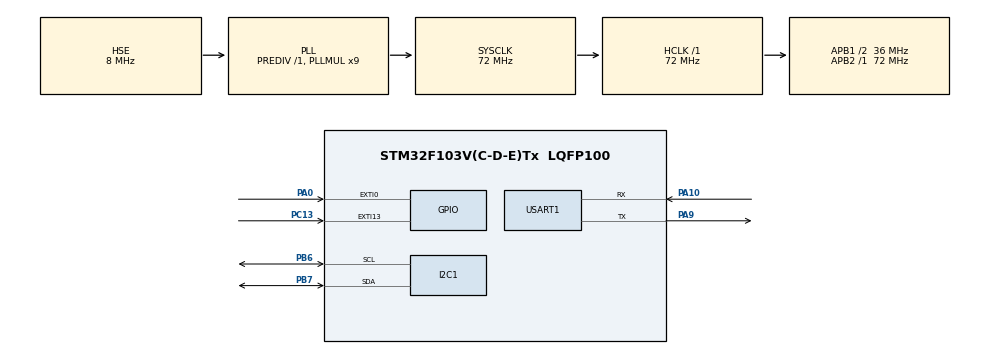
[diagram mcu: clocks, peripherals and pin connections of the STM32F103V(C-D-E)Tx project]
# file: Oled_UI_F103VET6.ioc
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Dma.I2C1_RX.0.Direction=DMA_PERIPH_TO_MEMORY
Dma.I2C1_RX.0.Instance=DMA1_Channel7
Dma.I2C1_RX.0.MemDataAlignment=DMA_MDATAALIGN_BYTE
Dma.I2C1_RX.0.MemInc=DMA_MINC_ENABLE
Dma.I2C1_RX.0.Mode=DMA_NORMAL
Dma.I2C1_RX.0.PeriphDataAlignment=DMA_PDATAALIGN_BYTE
Dma.I2C1_RX.0.PeriphInc=DMA_PINC_DISABLE
Dma.I2C1_RX.0.Priority=DMA_PRIORITY_LOW
Dma.I2C1_TX.1.Direction=DMA_MEMORY_TO_PERIPH
Dma.I2C1_TX.1.Instance=DMA1_Channel6
Dma.I2C1_TX.1.MemDataAlignment=DMA_MDATAALIGN_BYTE
Dma.I2C1_TX.1.MemInc=DMA_MINC_ENABLE
Dma.I2C1_TX.1.Mode=DMA_NORMAL
Dma.I2C1_TX.1.PeriphDataAlignment=DMA_PDATAALIGN_BYTE
Dma.I2C1_TX.1.PeriphInc=DMA_PINC_DISABLE
Dma.I2C1_TX.1.Priority=DMA_PRIORITY_LOW
Dma.Request0=I2C1_RX
Dma.Request1=I2C1_TX
I2C1.DutyCycle=I2C_DUTYCYCLE_2
I2C1.I2C_Mode=I2C_Fast
Mcu.Family=STM32F1
Mcu.Name=STM32F103V(C-D-E)Tx
Mcu.Package=LQFP100
NVIC.DMA1_Channel6_IRQn=true\:0\:0\:false\:false\:true\:false\:true\:true
NVIC.DMA1_Channel7_IRQn=true\:0\:0\:false\:false\:true\:false\:true\:true
NVIC.EXTI0_IRQn=true\:0\:0\:false\:false\:true\:true\:true\:true
NVIC.EXTI15_10_IRQn=true\:0\:0\:false\:false\:true\:true\:true\:true
NVIC.I2C1_ER_IRQn=true\:0\:0\:false\:false\:true\:true\:true\:true
NVIC.I2C1_EV_IRQn=true\:0\:0\:false\:false\:true\:true\:true\:true
NVIC.PriorityGroup=NVIC_PRIORITYGROUP_4
OSC_IN.Mode=HSE-External-Oscillator
OSC_IN.Signal=RCC_OSC_IN
OSC_OUT.Mode=HSE-External-Oscillator
OSC_OUT.Signal=RCC_OSC_OUT
PA0-WKUP.GPIO_ModeDefaultEXTI=GPIO_MODE_IT_RISING_FALLING
PA0-WKUP.GPIO_PuPd=GPIO_PULLDOWN
PA0-WKUP.Signal=GPXTI0
PA10.Mode=Asynchronous
PA10.Signal=USART1_RX
PA13.Mode=Serial_Wire
PA13.Signal=SYS_JTMS-SWDIO
PA14.Mode=Serial_Wire
PA14.Signal=SYS_JTCK-SWCLK
PA9.Mode=Asynchronous
PA9.Signal=USART1_TX
PB6.Mode=I2C
PB6.Signal=I2C1_SCL
PB7.Mode=I2C
PB7.Signal=I2C1_SDA
PC13-TAMPER-RTC.GPIO_ModeDefaultEXTI=GPIO_MODE_IT_RISING_FALLING
PC13-TAMPER-RTC.GPIO_PuPd=GPIO_PULLDOWN
PC13-TAMPER-RTC.Signal=GPXTI13
ProjectManager.HeapSize=0x200
ProjectManager.StackSize=0x400
ProjectManager.TargetToolchain=MDK-ARM V5.32
RCC.AHBFreq_Value=72000000
RCC.APB1CLKDivider=RCC_HCLK_DIV2
RCC.APB1Freq_Value=36000000
RCC.APB1TimFreq_Value=72000000
RCC.APB2Freq_Value=72000000
RCC.APB2TimFreq_Value=72000000
RCC.HCLKFreq_Value=72000000
RCC.PLLMUL=RCC_PLL_MUL9
RCC.PLLSourceVirtual=RCC_PLLSOURCE_HSE
RCC.SYSCLKFreq_VALUE=72000000
RCC.SYSCLKSource=RCC_SYSCLKSOURCE_PLLCLK
RCC.USBFreq_Value=72000000
USART1.VirtualMode=VM_ASYNC
board=custom

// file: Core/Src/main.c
/* USER CODE BEGIN Header */
/**
  ******************************************************************************
  * @file           : main.c
  * @brief          : Main program body
  ******************************************************************************
  * @attention
  *
  * Copyright (c) 2024 STMicroelectronics.
  * All rights reserved.
  *
  * This software is licensed under terms that can be found in the LICENSE file
  * in the root directory of this software component.
  * If no LICENSE file comes with this software, it is provided AS-IS.
  *
  ******************************************************************************
  */
/* USER CODE END Header */
#include "main.h"
#include "dma.h"
#include "i2c.h"
#include "usart.h"
#include "gpio.h"

/* USER CODE BEGIN Includes */
#include <stdio.h>
#include "oled.h"
#include "font.h"
#include "UI_Move.h"
/* USER CODE END Includes */

/* USER CODE BEGIN PTD */

struct Menutypedef ;
struct ItemTypedef ;

typedef struct Menutypedef
{
  char *menuName;
  struct ItemTypedef *items;
  struct Menutypedef *parentMenu; // 父级菜单指针
  uint16_t itemCount;
  int currentItemIndex;

}Menutypedef;

typedef struct ItemTypedef
{
  char *str;
  uint8_t len;
  void (*Function)(void);
  struct Menutypedef *subMenu; // 子级菜单指针

}ItemTypedef;

typedef struct
{
  int16_t val;
  int16_t targetVal;
  int16_t lastVal;

}UIElemTypedef;

typedef struct {
  uint8_t val;            // 当前值
  uint8_t lastVal;        // 上一次值
  uint8_t updateFlag;     // 更新标志
  uint8_t shortPress;     // 短按标志
  uint8_t longPress;      // 长按标志
  uint32_t pressTime;     // 按下时间
  uint32_t releaseTime;   // 抬起时间
} KeyTypeDef;

typedef struct
{
  int16_t topIndex;
  int16_t bottomIndex;
}ScreenIndexTypedef;

typedef enum
{
    INIT                    = 0x01,
    X_MOVING                = 0x02,
    GEN_CHAR                = 0x03,
    SEARCH_FINGERPRINT      = 0x04,
    SUCCESS_USER            = 0x05,
    FAILURE                 = 0x06
} UIMoveStateTypedef;

/* USER CODE END PTD */

/* USER CODE BEGIN PD */

#define LIMIT_MAGNITUDE(value, low, high) \
        ((value) < (low) ? (low) : ((value) > (high) ? (high) : (value)))

#define OLED_SCREEN_WIDTH   128
#define OLED_SCREEN_HEIGHT  64
#define MENU_ITEM_HEIGHT    16

#define SCROLLBAR_WIDTH    2
#define SCROLLBAR_MARGIN   3

#define LONG_PRESS_THRESHOLD 600 // ms

/* USER CODE END PD */

/* USER CODE BEGIN PV */

extern Menutypedef mainMenu;
extern Menutypedef listMenu;

ItemTypedef mainMenuItems[] =
{
  {"List", 4, NULL, &listMenu},
  {"a", 1, NULL, NULL},
  {"wqweqw", 6, NULL, NULL},
  {"sds", 3, NULL, NULL},
  {"List_E", 6, NULL, NULL},
  {"afsadf", 6, NULL, NULL},
  {"wode", 4, NULL, NULL},
  {"List", 4, NULL, NULL},
  {"a", 1, NULL, NULL},
  {"wqweqw", 6, NULL, NULL},
  {"sds", 3, NULL, NULL},
  {"List_E", 6, NULL, NULL},
  {"afsadf", 6, NULL, NULL},
  {"wode", 4, NULL, NULL}
};

ItemTypedef listMenuItems[] =
{
  {"List1", 5, NULL, NULL},
  {"a1", 3, NULL, NULL},
  {"wqweqw1", 7, NULL, NULL},
  {"sds1", 4, NULL, NULL},
  {"List_E1", 7, NULL, NULL},
  {"afsad1", 7, NULL, NULL},
  {"wode1", 5, NULL, NULL},
  {"List1", 5, NULL, NULL},
  {"a1", 2, NULL, NULL},
  {"wqweqw1", 7, NULL, NULL},
  {"sds1", 4, NULL, NULL},
  {"List_E1", 7, NULL, NULL},
  {"afsadf1", 7, NULL, NULL},
  {"wode1", 5, NULL, NULL}
};

Menutypedef mainMenu = {"mainMenu", mainMenuItems, NULL, sizeof(mainMenuItems) / sizeof(ItemTypedef), 0};
Menutypedef listMenu = {"listMenu", listMenuItems, &mainMenu, sizeof(listMenuItems) / sizeof(ItemTypedef), 0};
Menutypedef *currentMenu = &mainMenu;

KeyTypeDef KeyList[2] = {0};

UIElemTypedef itemX = {0};
UIElemTypedef itemY = {0};

UIElemTypedef frameWidth = {0};
UIElemTypedef frameY = {0};

UIElemTypedef screenTop = {0};
UIElemTypedef screenBottom = {0};

UIElemTypedef scrollBarY = {0};

ScreenIndexTypedef screenIndex = {0, 3};

// 0:没有按键响应 1:KEY1 2:KEY2
uint8_t keyID = 0;

// uint16_t listLen = 0;
float moveProcess_FrameY = 0.0;
float moveProcess_FrameWidth = 0.0;
float moveProcess_Screen = 0.0;
float moveProcess_ScrollBar = 0.0;

/* USER CODE END PV */

void SystemClock_Config(void);
/* USER CODE BEGIN PFP */
int fputc(int ch, FILE *f)
{
  HAL_UART_Transmit(&huart1, (uint8_t *)&ch, 1, 0xffff);
  return ch;
}
int fgetc(FILE *f)
{
  uint8_t ch = 0;
  HAL_UART_Receive(&huart1, &ch, 1, 0xffff);
  return ch;
}

void HAL_GPIO_EXTI_Callback(uint16_t GPIO_Pin)
{

  uint32_t currentTime = HAL_GetTick();

  if (GPIO_Pin == GPIO_PIN_13)
  {
    if (HAL_GPIO_ReadPin(GPIOC, GPIO_PIN_13) == GPIO_PIN_SET)
    {
      KeyList[0].val = 1;
      KeyList[0].pressTime = currentTime;
      keyID = 1;
    }
    else
    {
      KeyList[0].val = 0;
      KeyList[0].releaseTime = currentTime;

      uint32_t pressDuration = KeyList[0].releaseTime - KeyList[0].pressTime;
      if (pressDuration >= LONG_PRESS_THRESHOLD)
      {
        KeyList[0].longPress = 1;  // 长按

      }
      else
      {
        KeyList[0].longPress = 2;// 短按
      }
    }

    if (!KeyList[0].val && KeyList[0].longPress)
    {
      KeyList[0].updateFlag = 1;
    }

  }
  else if (GPIO_Pin == GPIO_PIN_0)
  {
    if (HAL_GPIO_ReadPin(GPIOA, GPIO_PIN_0) == GPIO_PIN_SET)
    {
      KeyList[1].val = 1;
      KeyList[1].pressTime = currentTime;
      keyID = 2;
    }
    else
    {
      KeyList[1].val = 0;
      KeyList[1].releaseTime = currentTime;

      uint32_t pressDuration = KeyList[1].releaseTime - KeyList[1].pressTime;
      if (pressDuration >= LONG_PRESS_THRESHOLD)
      {
        KeyList[1].longPress = 1;  // 长按

      }
      else
      {
        KeyList[1].longPress = 2;// 短按
      }

    }

    if (!KeyList[1].val && KeyList[1].longPress)
    {
      KeyList[1].updateFlag = 1;
    }
  }
}

// 返回值： 1： 到达目标哦位置； 0： 没有到达目标位置
uint8_t UI_Move(UIElemTypedef *elem, float *moveProcess, float moveSpeed);
// uint8_t Frame_Move(UIElemTypedef *frameY, UIElemTypedef *frameWidth, float moveSpeed);
uint8_t Screen_Move(UIElemTypedef *screenTop, float moveSpeed);
void Key_Init();
void ItemIndex_UpData();
void Frame_Update();
void Screen_Update();
void ScrollBar_Update(void);
void UI_Show();
float easeInOut(float t);

/* USER CODE END PFP */

int main(void)
{

  /* MCU Configuration--------------------------------------------------------*/

  /* Reset of all peripherals, Initializes the Flash interface and the Systick. */
  HAL_Init();

  /* Configure the system clock */
  SystemClock_Config();

  /* Initialize all configured peripherals */
  MX_GPIO_Init();
  MX_DMA_Init();
  MX_I2C1_Init();
  MX_USART1_UART_Init();
  /* USER CODE BEGIN 2 */
  OLED_Init();
  Key_Init();
  HAL_Delay(20);

  /* USER CODE END 2 */

  /* Infinite loop */
  /* USER CODE BEGIN WHILE */
  printf("ready:)\n");
  frameY.targetVal = currentMenu->currentItemIndex * MENU_ITEM_HEIGHT;
  frameWidth.targetVal = currentMenu->items[currentMenu->currentItemIndex].len * 6 + 4;
  frameWidth.val = currentMenu->items[currentMenu->currentItemIndex].len * 6 + 4;
  scrollBarY.targetVal = 2;
  while (1)
  {

    ItemIndex_UpData();
    UI_Move(&frameY, &moveProcess_FrameY, 0.1);
    UI_Move(&frameWidth, &moveProcess_FrameWidth, 0.1);
    UI_Move(&screenTop, &moveProcess_Screen, 0.1);
    UI_Move(&scrollBarY, &moveProcess_ScrollBar, 0.1);
    // Frame_Move(&frameY, &frameWidth, 0.1);
    // Screen_Move(&screenTop, 0.1);
    UI_Show();

    // printf("%d\n", (OLED_SCREEN_HEIGHT * 4) / currentMenu->itemCount);

    // printf("%d, %d, %d\n", frameY.val, frameWidth.val, screenTop.val);
    /* USER CODE END WHILE */

  }
}

void SystemClock_Config(void)
{
  RCC_OscInitTypeDef RCC_OscInitStruct = {0};
  RCC_ClkInitTypeDef RCC_ClkInitStruct = {0};

  /** Initializes the RCC Oscillators according to the specified parameters
  * in the RCC_OscInitTypeDef structure.
  */
  RCC_OscInitStruct.OscillatorType = RCC_OSCILLATORTYPE_HSE;
  RCC_OscInitStruct.HSEState = RCC_HSE_ON;
  RCC_OscInitStruct.HSEPredivValue = RCC_HSE_PREDIV_DIV1;
  RCC_OscInitStruct.HSIState = RCC_HSI_ON;
  RCC_OscInitStruct.PLL.PLLState = RCC_PLL_ON;
  RCC_OscInitStruct.PLL.PLLSource = RCC_PLLSOURCE_HSE;
  RCC_OscInitStruct.PLL.PLLMUL = RCC_PLL_MUL9;
  if (HAL_RCC_OscConfig(&RCC_OscInitStruct) != HAL_OK)
  {
    Error_Handler();
  }

  /** Initializes the CPU, AHB and APB buses clocks
  */
  RCC_ClkInitStruct.ClockType = RCC_CLOCKTYPE_HCLK|RCC_CLOCKTYPE_SYSCLK
                              |RCC_CLOCKTYPE_PCLK1|RCC_CLOCKTYPE_PCLK2;
  RCC_ClkInitStruct.SYSCLKSource = RCC_SYSCLKSOURCE_PLLCLK;
  RCC_ClkInitStruct.AHBCLKDivider = RCC_SYSCLK_DIV1;
  RCC_ClkInitStruct.APB1CLKDivider = RCC_HCLK_DIV2;
  RCC_ClkInitStruct.APB2CLKDivider = RCC_HCLK_DIV1;

  if (HAL_RCC_ClockConfig(&RCC_ClkInitStruct, FLASH_LATENCY_2) != HAL_OK)
  {
    Error_Handler();
  }
}

/* USER CODE BEGIN 4 */

void Key_Init()
{
  memset(KeyList, 0, sizeof(KeyList));
}

void ItemIndex_UpData()
{
  if (KeyList[keyID - 1].updateFlag && KeyList[keyID - 1].longPress == 2)
  {

    KeyList[keyID - 1].updateFlag = 0;
    if (keyID == 1)
    {
      currentMenu->currentItemIndex++;

    }
    else if (keyID == 2)
    {
      currentMenu->currentItemIndex--;
    }

    if (currentMenu->currentItemIndex == currentMenu->itemCount)
    {
      currentMenu->currentItemIndex = 0;
    }
    else if (currentMenu->currentItemIndex == -1)
    {
      currentMenu->currentItemIndex = currentMenu->itemCount - 1;
    }

    Frame_Update();
    Screen_Update();
    ScrollBar_Update();
  }
}

void Frame_Update()
{
  moveProcess_FrameY = 0.0;
  moveProcess_FrameWidth = 0.0;

  frameY.lastVal = frameY.targetVal;
  frameWidth.lastVal = frameWidth.targetVal;

  frameY.targetVal = currentMenu->currentItemIndex * MENU_ITEM_HEIGHT;
  frameWidth.targetVal = currentMenu->items[currentMenu->currentItemIndex].len * 6 + 4;
}

void Screen_Update()
{
  if (currentMenu->currentItemIndex > screenIndex.bottomIndex)
  {
    moveProcess_Screen = 0.0;
    screenIndex.bottomIndex = currentMenu->currentItemIndex;
    screenIndex.topIndex = screenIndex.bottomIndex - 3;
  }
  else if (currentMenu->currentItemIndex < screenIndex.topIndex)
  {
    moveProcess_Screen = 0.0;
    screenIndex.topIndex = currentMenu->currentItemIndex;
    screenIndex.bottomIndex = screenIndex.topIndex + 3;
  }

  screenTop.lastVal = screenTop.targetVal;

  screenTop.targetVal = screenIndex.topIndex * MENU_ITEM_HEIGHT;
}

void ScrollBar_Update(void)
{
  moveProcess_ScrollBar = 0.0;

  float moveRangef = (float)((OLED_SCREEN_HEIGHT - 4) - (OLED_SCREEN_HEIGHT * 2) / currentMenu->itemCount) / (currentMenu->itemCount - 1);
  int moveRange = (int)(moveRangef + 0.5f);
  scrollBarY.lastVal = scrollBarY.val;
  if (currentMenu->currentItemIndex == currentMenu->itemCount - 1)
  {
    scrollBarY.targetVal = OLED_SCREEN_HEIGHT - 2 - (OLED_SCREEN_HEIGHT * 2) / currentMenu->itemCount;
  }
  else
  {
    scrollBarY.targetVal = (currentMenu->currentItemIndex * moveRange) + 2;
  }
}

uint8_t UI_Move(UIElemTypedef *elem, float *moveProcess, float moveSpeed)
{
  if (*moveProcess < 1.0)
  {
    *moveProcess += moveSpeed;
  }
  if (*moveProcess > 1.0)
  {
    *moveProcess = 1.0;
  }

  float easedProcess = easeInOut(*moveProcess);

  // for (int i =0; i < sizeOfElemList; i++)
  // {

  // }

  elem->val = (int16_t)((1.0 - easedProcess) * elem->lastVal + easedProcess * elem->targetVal);

  if (*moveProcess == 1.0)
  {
    elem->val = elem->targetVal;
    return 1;
  }
  else
  {
    return 0;
  }
}

uint8_t Screen_Move(UIElemTypedef *screenTop, float moveSpeed)
{
  if (moveProcess_Screen < 1.0)
  {
    moveProcess_Screen += moveSpeed;
  }
  if (moveProcess_Screen > 1.0)
  {
    moveProcess_Screen = 1.0;
  }

  float easedProcess = easeInOut(moveProcess_Screen);

  screenTop->val = (int16_t)((1.0 - easedProcess) * screenTop->lastVal + easedProcess * screenTop->targetVal);

  if (moveProcess_Screen == 1.0)
  {
    screenTop->val = screenTop->targetVal;
    return 1;
  }
  else
  {
    return 0;
  }
}

// uint8_t Frame_Move(UIElemTypedef *frameY, UIElemTypedef *frameWidth, float moveSpeed)
// {

//   if (moveProcess_Frame < 1.0)
//   {
//     moveProcess_Frame += moveSpeed;
//   }
//   if (moveProcess_Frame > 1.0)
//   {
//     moveProcess_Frame = 1.0;
//   }

//   float easedProcess = easeInOut(moveProcess_Frame);

//   frameY->val = (int16_t)((1.0 - easedProcess) * frameY->lastVal + easedProcess * frameY->targetVal);
//   frameWidth->val = (int16_t)((1.0 - easedProcess) * frameWidth->lastVal + easedProcess * frameWidth->targetVal);

//   // frameY->val += (int16_t)((frameY->targetVal - frameY->val) * moveProcess);
//   // frameWidth->val += (int16_t)((frameWidth->targetVal - frameWidth->val) * moveProcess);

//   if (moveProcess_Frame == 1.0)
//   {
//     frameY->val = frameY->targetVal;
//     frameWidth->val = frameWidth->targetVal;
//     return 1;
//   }
//   else
//   {
//     return 0;
//   }

// }

void UI_Show()
{
  OLED_NewFrame();

  for (int i = -1; i < 5; i++)
  {
    OLED_PrintASCIIString(2, screenTop.targetVal - screenTop.val + (i * MENU_ITEM_HEIGHT) + 4, currentMenu->items[i + screenIndex.topIndex].str, &afont8x6, OLED_COLOR_NORMAL);
  }

  OLED_DrawFilledRectangleWithCorners(0, frameY.val + 1 - (screenIndex.topIndex * MENU_ITEM_HEIGHT), frameWidth.val, MENU_ITEM_HEIGHT - 2, OLED_COLOR_REVERSED);
  // Draw_ScrollBar(screenTop.targetVal, currentMenu->itemCount, 4, currentMenu->currentItemIndex);

  OLED_DrawRectangle(OLED_SCREEN_WIDTH - SCROLLBAR_WIDTH - SCROLLBAR_MARGIN - 2, 0, 6, OLED_SCREEN_HEIGHT - 1, OLED_COLOR_NORMAL);
  OLED_DrawFilledRectangle(OLED_SCREEN_WIDTH - SCROLLBAR_WIDTH - SCROLLBAR_MARGIN,
                            scrollBarY.val,
                            SCROLLBAR_WIDTH,
                            (OLED_SCREEN_HEIGHT * 2) / currentMenu->itemCount,
                            OLED_COLOR_NORMAL);
  OLED_ShowFrame();
}

float easeInOut(float t)
{
  if (t < 0.5)
    return 2 * t * t;
  else
    return -1 + (4 - 2 * t) * t;
}

/* USER CODE END 4 */

void Error_Handler(void)
{
  __disable_irq();
  while (1)
  {
  }
}
